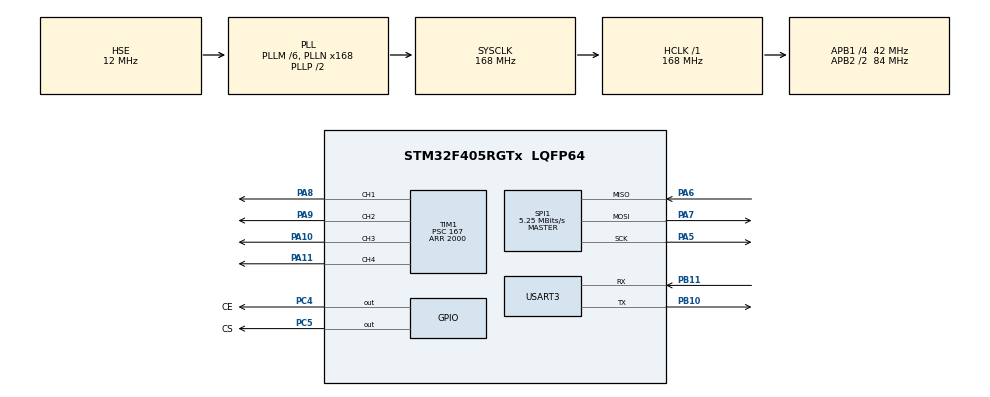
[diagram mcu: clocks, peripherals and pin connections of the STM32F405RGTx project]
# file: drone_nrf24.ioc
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Mcu.Family=STM32F4
Mcu.Name=STM32F405RGTx
Mcu.Package=LQFP64
NVIC.PriorityGroup=NVIC_PRIORITYGROUP_4
PA10.Signal=S_TIM1_CH3
PA11.Signal=S_TIM1_CH4
PA13.Mode=Serial_Wire
PA13.Signal=SYS_JTMS-SWDIO
PA14.Mode=Serial_Wire
PA14.Signal=SYS_JTCK-SWCLK
PA5.Mode=Full_Duplex_Master
PA5.Signal=SPI1_SCK
PA6.Mode=Full_Duplex_Master
PA6.Signal=SPI1_MISO
PA7.Mode=Full_Duplex_Master
PA7.Signal=SPI1_MOSI
PA8.Signal=S_TIM1_CH1
PA9.Signal=S_TIM1_CH2
PB10.Mode=Asynchronous
PB10.Signal=USART3_TX
PB11.Mode=Asynchronous
PB11.Signal=USART3_RX
PC4.GPIO_Label=CE
PC4.Signal=GPIO_Output
PC5.GPIO_Label=CS
PC5.Signal=GPIO_Output
PH0-OSC_IN.Mode=HSE-External-Oscillator
PH0-OSC_IN.Signal=RCC_OSC_IN
PH1-OSC_OUT.Mode=HSE-External-Oscillator
PH1-OSC_OUT.Signal=RCC_OSC_OUT
ProjectManager.HeapSize=0x200
ProjectManager.StackSize=0x400
ProjectManager.TargetToolchain=STM32CubeIDE
RCC.48MHZClocksFreq_Value=84000000
RCC.AHBFreq_Value=168000000
RCC.APB1CLKDivider=RCC_HCLK_DIV4
RCC.APB1Freq_Value=42000000
RCC.APB1TimFreq_Value=84000000
RCC.APB2CLKDivider=RCC_HCLK_DIV2
RCC.APB2Freq_Value=84000000
RCC.APB2TimFreq_Value=168000000
RCC.CortexFreq_Value=168000000
RCC.HCLKFreq_Value=168000000
RCC.HSE_VALUE=12000000
RCC.HSI_VALUE=16000000
RCC.LSE_VALUE=32768
RCC.PLLM=6
RCC.PLLN=168
RCC.PLLSourceVirtual=RCC_PLLSOURCE_HSE
RCC.SYSCLKFreq_VALUE=168000000
RCC.SYSCLKSource=RCC_SYSCLKSOURCE_PLLCLK
RCC.VCOOutputFreq_Value=336000000
SH.S_TIM1_CH1.0=TIM1_CH1,PWM Generation1 CH1
SH.S_TIM1_CH2.0=TIM1_CH2,PWM Generation2 CH2
SH.S_TIM1_CH3.0=TIM1_CH3,PWM Generation3 CH3
SH.S_TIM1_CH4.0=TIM1_CH4,PWM Generation4 CH4
SPI1.BaudRatePrescaler=SPI_BAUDRATEPRESCALER_16
SPI1.CalculateBaudRate=5.25 MBits/s
SPI1.Direction=SPI_DIRECTION_2LINES
SPI1.Mode=SPI_MODE_MASTER
SPI1.VirtualType=VM_MASTER
TIM1.Channel-PWM\ Generation1\ CH1=TIM_CHANNEL_1
TIM1.Channel-PWM\ Generation2\ CH2=TIM_CHANNEL_2
TIM1.Channel-PWM\ Generation3\ CH3=TIM_CHANNEL_3
TIM1.Channel-PWM\ Generation4\ CH4=TIM_CHANNEL_4
TIM1.Period=2000
TIM1.Prescaler=167
USART3.VirtualMode=VM_ASYNC
board=custom

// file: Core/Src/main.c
/* USER CODE BEGIN Header */
/**
  ******************************************************************************
  * @file           : main.c
  * @brief          : Main program body
  ******************************************************************************
  * @attention
  *
  * <h2><center>&copy; Copyright (c) 2019 STMicroelectronics.
  * All rights reserved.</center></h2>
  *
  * This software component is licensed by ST under BSD 3-Clause license,
  * the "License"; You may not use this file except in compliance with the
  * License. You may obtain a copy of the License at:
  *                        opensource.org/licenses/BSD-3-Clause
  *
  ******************************************************************************
  */
/* USER CODE END Header */

#include "main.h"

/* USER CODE BEGIN Includes */
#include "nrf24_hal.h"
#include "nrf24.h"
/* USER CODE END Includes */

SPI_HandleTypeDef hspi1;

TIM_HandleTypeDef htim1;

UART_HandleTypeDef huart3;

void SystemClock_Config(void);
static void MX_GPIO_Init(void);
static void MX_SPI1_Init(void);
static void MX_USART3_UART_Init(void);
static void MX_TIM1_Init(void);

/* USER CODE BEGIN 0 */
void init_ESC(){

	  HAL_TIM_PWM_Start(&htim1,TIM_CHANNEL_1);
	    HAL_TIM_PWM_Start(&htim1,TIM_CHANNEL_2);
	    HAL_TIM_PWM_Start(&htim1,TIM_CHANNEL_3);
	    HAL_TIM_PWM_Start(&htim1,TIM_CHANNEL_4);
	    __HAL_TIM_SET_COMPARE(&htim1, TIM_CHANNEL_1, 1000);
	    __HAL_TIM_SET_COMPARE(&htim1, TIM_CHANNEL_2, 1000);
	    __HAL_TIM_SET_COMPARE(&htim1, TIM_CHANNEL_3, 1000);
	    __HAL_TIM_SET_COMPARE(&htim1, TIM_CHANNEL_4, 1000);

	    HAL_Delay(3000);
}
void set_ESC(){
	    __HAL_TIM_SET_COMPARE(&htim1, TIM_CHANNEL_1,1000);
	    __HAL_TIM_SET_COMPARE(&htim1, TIM_CHANNEL_2,1000);
	    __HAL_TIM_SET_COMPARE(&htim1, TIM_CHANNEL_3,1000);
	    __HAL_TIM_SET_COMPARE(&htim1, TIM_CHANNEL_4,1000);
}
/* USER CODE END 0 */

int main(void)
{

  /* MCU Configuration--------------------------------------------------------*/

  /* Reset of all peripherals, Initializes the Flash interface and the Systick. */
  HAL_Init();

  /* Configure the system clock */
  SystemClock_Config();

  /* Initialize all configured peripherals */
  MX_GPIO_Init();
  MX_SPI1_Init();
  MX_USART3_UART_Init();
  MX_TIM1_Init();
  /* USER CODE BEGIN 2 */
  init_ESC();
  uint8_t ADDR[] = { 'n', 'R', 'F', '2', '4' }; // the address for RX pipe
  nRF24_DisableAA(0xFF); // disable ShockBurst
  nRF24_SetRFChannel(24); // set RF channel to 2490MHz
  nRF24_SetDataRate(nRF24_DR_2Mbps); // 2Mbit/s data rate
  nRF24_SetCRCScheme(nRF24_CRC_1byte); // 1-byte CRC scheme
  nRF24_SetAddrWidth(5); // address width is 5 bytes
  nRF24_SetAddr(nRF24_PIPE1, ADDR); // program pipe address
  nRF24_SetRXPipe(nRF24_PIPE1, nRF24_AA_OFF, 12); // enable RX pipe#1 with Auto-ACK: disabled, payload length: 10 bytes
  nRF24_SetOperationalMode(nRF24_MODE_RX); // switch transceiver to the RX mode
  nRF24_SetPowerMode(nRF24_PWR_UP); // wake-up transceiver (in case if it sleeping)
  // then pull CE pin to HIGH, and the nRF24 will start a receive...
  /* USER CODE END 2 */

  /* Infinite loop */
  while (1)
  {

    /* USER CODE BEGIN 3 */

	  GPIO_PinState IRQ;
	  nRF24_CE_H; // start receiving
	  while (1) {
	      // constantly poll the status of RX FIFO...
	      if (nRF24_GetStatus_RXFIFO() != nRF24_STATUS_RXFIFO_EMPTY) {
//	    	  IRQ = HAL_GPIO_ReadPin(GPIOA,GPIO_PIN_4);
//	          // the RX FIFO have some data, take a note what nRF24 can hold up to three payloads of 32 bytes...
	          pipe = nRF24_ReadPayload(nRF24_payload, &payload_length); // read a payload to buffer
	          nRF24_ClearIRQFlags(); // clear any pending IRQ bits
//	          IRQ = HAL_GPIO_ReadPin(GPIOA,GPIO_PIN_4);
//	          // now the nRF24_payload buffer holds received data
//	          // payload_length variable holds a length of received data
//	          // pipe variable holds a number of the pipe which has received the data
//	          // ... do something with received data ...
	      }
	  }
  }
  /* USER CODE END 3 */
}

void SystemClock_Config(void)
{
  RCC_OscInitTypeDef RCC_OscInitStruct = {0};
  RCC_ClkInitTypeDef RCC_ClkInitStruct = {0};

  /** Configure the main internal regulator output voltage
  */
  __HAL_RCC_PWR_CLK_ENABLE();
  __HAL_PWR_VOLTAGESCALING_CONFIG(PWR_REGULATOR_VOLTAGE_SCALE1);
  /** Initializes the CPU, AHB and APB busses clocks
  */
  RCC_OscInitStruct.OscillatorType = RCC_OSCILLATORTYPE_HSE;
  RCC_OscInitStruct.HSEState = RCC_HSE_ON;
  RCC_OscInitStruct.PLL.PLLState = RCC_PLL_ON;
  RCC_OscInitStruct.PLL.PLLSource = RCC_PLLSOURCE_HSE;
  RCC_OscInitStruct.PLL.PLLM = 6;
  RCC_OscInitStruct.PLL.PLLN = 168;
  RCC_OscInitStruct.PLL.PLLP = RCC_PLLP_DIV2;
  RCC_OscInitStruct.PLL.PLLQ = 4;
  if (HAL_RCC_OscConfig(&RCC_OscInitStruct) != HAL_OK)
  {
    Error_Handler();
  }
  /** Initializes the CPU, AHB and APB busses clocks
  */
  RCC_ClkInitStruct.ClockType = RCC_CLOCKTYPE_HCLK|RCC_CLOCKTYPE_SYSCLK
                              |RCC_CLOCKTYPE_PCLK1|RCC_CLOCKTYPE_PCLK2;
  RCC_ClkInitStruct.SYSCLKSource = RCC_SYSCLKSOURCE_PLLCLK;
  RCC_ClkInitStruct.AHBCLKDivider = RCC_SYSCLK_DIV1;
  RCC_ClkInitStruct.APB1CLKDivider = RCC_HCLK_DIV4;
  RCC_ClkInitStruct.APB2CLKDivider = RCC_HCLK_DIV2;

  if (HAL_RCC_ClockConfig(&RCC_ClkInitStruct, FLASH_LATENCY_5) != HAL_OK)
  {
    Error_Handler();
  }
}

static void MX_SPI1_Init(void)
{

  /* SPI1 parameter configuration*/
  hspi1.Instance = SPI1;
  hspi1.Init.Mode = SPI_MODE_MASTER;
  hspi1.Init.Direction = SPI_DIRECTION_2LINES;
  hspi1.Init.DataSize = SPI_DATASIZE_8BIT;
  hspi1.Init.CLKPolarity = SPI_POLARITY_LOW;
  hspi1.Init.CLKPhase = SPI_PHASE_1EDGE;
  hspi1.Init.NSS = SPI_NSS_SOFT;
  hspi1.Init.BaudRatePrescaler = SPI_BAUDRATEPRESCALER_16;
  hspi1.Init.FirstBit = SPI_FIRSTBIT_MSB;
  hspi1.Init.TIMode = SPI_TIMODE_DISABLE;
  hspi1.Init.CRCCalculation = SPI_CRCCALCULATION_DISABLE;
  hspi1.Init.CRCPolynomial = 10;
  if (HAL_SPI_Init(&hspi1) != HAL_OK)
  {
    Error_Handler();
  }

}

static void MX_TIM1_Init(void)
{

  TIM_MasterConfigTypeDef sMasterConfig = {0};
  TIM_OC_InitTypeDef sConfigOC = {0};
  TIM_BreakDeadTimeConfigTypeDef sBreakDeadTimeConfig = {0};

  htim1.Instance = TIM1;
  htim1.Init.Prescaler = 167;
  htim1.Init.CounterMode = TIM_COUNTERMODE_UP;
  htim1.Init.Period = 2000;
  htim1.Init.ClockDivision = TIM_CLOCKDIVISION_DIV1;
  htim1.Init.RepetitionCounter = 0;
  htim1.Init.AutoReloadPreload = TIM_AUTORELOAD_PRELOAD_DISABLE;
  if (HAL_TIM_PWM_Init(&htim1) != HAL_OK)
  {
    Error_Handler();
  }
  sMasterConfig.MasterOutputTrigger = TIM_TRGO_RESET;
  sMasterConfig.MasterSlaveMode = TIM_MASTERSLAVEMODE_DISABLE;
  if (HAL_TIMEx_MasterConfigSynchronization(&htim1, &sMasterConfig) != HAL_OK)
  {
    Error_Handler();
  }
  sConfigOC.OCMode = TIM_OCMODE_PWM1;
  sConfigOC.Pulse = 0;
  sConfigOC.OCPolarity = TIM_OCPOLARITY_HIGH;
  sConfigOC.OCNPolarity = TIM_OCNPOLARITY_HIGH;
  sConfigOC.OCFastMode = TIM_OCFAST_DISABLE;
  sConfigOC.OCIdleState = TIM_OCIDLESTATE_RESET;
  sConfigOC.OCNIdleState = TIM_OCNIDLESTATE_RESET;
  if (HAL_TIM_PWM_ConfigChannel(&htim1, &sConfigOC, TIM_CHANNEL_1) != HAL_OK)
  {
    Error_Handler();
  }
  if (HAL_TIM_PWM_ConfigChannel(&htim1, &sConfigOC, TIM_CHANNEL_2) != HAL_OK)
  {
    Error_Handler();
  }
  if (HAL_TIM_PWM_ConfigChannel(&htim1, &sConfigOC, TIM_CHANNEL_3) != HAL_OK)
  {
    Error_Handler();
  }
  if (HAL_TIM_PWM_ConfigChannel(&htim1, &sConfigOC, TIM_CHANNEL_4) != HAL_OK)
  {
    Error_Handler();
  }
  sBreakDeadTimeConfig.OffStateRunMode = TIM_OSSR_DISABLE;
  sBreakDeadTimeConfig.OffStateIDLEMode = TIM_OSSI_DISABLE;
  sBreakDeadTimeConfig.LockLevel = TIM_LOCKLEVEL_OFF;
  sBreakDeadTimeConfig.DeadTime = 0;
  sBreakDeadTimeConfig.BreakState = TIM_BREAK_DISABLE;
  sBreakDeadTimeConfig.BreakPolarity = TIM_BREAKPOLARITY_HIGH;
  sBreakDeadTimeConfig.AutomaticOutput = TIM_AUTOMATICOUTPUT_DISABLE;
  if (HAL_TIMEx_ConfigBreakDeadTime(&htim1, &sBreakDeadTimeConfig) != HAL_OK)
  {
    Error_Handler();
  }
  HAL_TIM_MspPostInit(&htim1);

}

static void MX_USART3_UART_Init(void)
{

  huart3.Instance = USART3;
  huart3.Init.BaudRate = 115200;
  huart3.Init.WordLength = UART_WORDLENGTH_8B;
  huart3.Init.StopBits = UART_STOPBITS_1;
  huart3.Init.Parity = UART_PARITY_NONE;
  huart3.Init.Mode = UART_MODE_TX_RX;
  huart3.Init.HwFlowCtl = UART_HWCONTROL_NONE;
  huart3.Init.OverSampling = UART_OVERSAMPLING_16;
  if (HAL_UART_Init(&huart3) != HAL_OK)
  {
    Error_Handler();
  }

}

static void MX_GPIO_Init(void)
{
  GPIO_InitTypeDef GPIO_InitStruct = {0};

  /* GPIO Ports Clock Enable */
  __HAL_RCC_GPIOH_CLK_ENABLE();
  __HAL_RCC_GPIOA_CLK_ENABLE();
  __HAL_RCC_GPIOC_CLK_ENABLE();
  __HAL_RCC_GPIOB_CLK_ENABLE();

  /*Configure GPIO pin Output Level */
  HAL_GPIO_WritePin(GPIOC, CE_Pin|CS_Pin, GPIO_PIN_RESET);

  /*Configure GPIO pins : CE_Pin CS_Pin */
  GPIO_InitStruct.Pin = CE_Pin|CS_Pin;
  GPIO_InitStruct.Mode = GPIO_MODE_OUTPUT_PP;
  GPIO_InitStruct.Pull = GPIO_NOPULL;
  GPIO_InitStruct.Speed = GPIO_SPEED_FREQ_LOW;
  HAL_GPIO_Init(GPIOC, &GPIO_InitStruct);

}

void Error_Handler(void)
{
}

/************************ (C) COPYRIGHT STMicroelectronics *****END OF FILE****/
